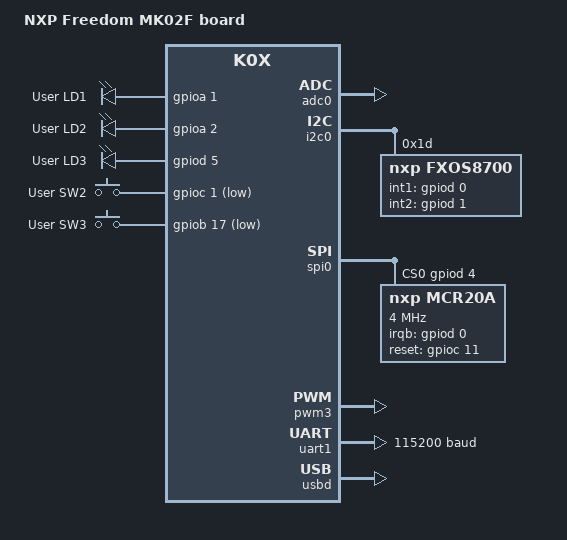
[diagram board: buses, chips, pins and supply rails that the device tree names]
/dts-v1/;

#include <nxp/nxp_k0x.dtsi>

/ {
	model = "NXP Freedom MK02F board";
	compatible = "nxp,mk02f12", "nxp,k02f", "nxp,k0x";

	aliases {
		adc-0 = &adc0;
		pwm-0 = &pwm0;
		pwm-1 = &pwm1;
		pwm-2 = &pwm2;
		pwm-3 = &pwm3;
		uart-0 = &uart0;
		uart-1 = &uart1;
		pinmux-a = &pinmux_a;
		pinmux-b = &pinmux_b;
		pinmux-c = &pinmux_c;
		pinmux-d = &pinmux_d;
		pinmux-e = &pinmux_e;
		gpio-a = &gpioa;
		gpio-b = &gpiob;
		gpio-c = &gpioc;
		gpio-d = &gpiod;
		gpio-e = &gpioe;
		i2c-0 = &i2c0;
		i2c-1 = &i2c1;
		led0 = &green_led;
		led1 = &blue_led;
		led2 = &red_led;
		sw0 = &user_button_3;
		sw1 = &user_button_2;
	};

	chosen {
		zephyr,sram = &sram0;
		zephyr,flash = &flash0;
		zephyr,console = &uart1;
		zephyr,shell-uart = &uart1;
		zephyr,uart-pipe = &uart1;
	};

	leds {
		compatible = "gpio-leds";
		red_led: led_0 {
			gpios = <&gpioa 1 0>;
			label = "User LD1";
		};
		green_led: led_1 {
			gpios = <&gpioa 2 0>;
			label = "User LD2";
		};
		blue_led: led_2 {
			gpios = <&gpiod 5 0>;
			label = "User LD3";
		};
	};

	gpio_keys {
		compatible = "gpio-keys";
		user_button_2: button_0 {
			label = "User SW2";
			gpios = <&gpioc 1 GPIO_INT_ACTIVE_LOW>;
		};
		user_button_3: button_1 {
			label = "User SW3";
			gpios = <&gpiob 17 GPIO_INT_ACTIVE_LOW>;
		};
	};
};

&adc0 {
	status = "ok";
};

&i2c0 {
	status = "ok";

	fxos8700@1d {
		compatible = "nxp,fxos8700";
		reg = <0x1d>;
		label = "FXOS8700";
		int1-gpios = <&gpiod 0 0>;
		int2-gpios = <&gpiod 1 0>;
	};
};

&spi0 {
	status = "ok";
	cs-gpios = <&gpiod 4 0>;

	mcr20a@0 {
		compatible = "nxp,mcr20a";
		reg = <0x0>;
		label = "mcr20a";
		spi-max-frequency = <4000000>;
		irqb-gpios = <&gpiod 0 0>;
		reset-gpios = <&gpioc 11 0>;
		status = "ok";
	};
};

&pwm3 {
	status = "ok";
};

&uart1 {
	status = "ok";
	current-speed = <115200>;
};

&usbd {
	compatible = "nxp,kinetis-usbd";
	status = "ok";
	num-bidir-endpoints = <8>;
};

&flash0 {
	/*
	 * For more information, see:
	 * http://docs.zephyrproject.org/latest/devices/dts/flash_partitions.html
	 */
	partitions {
		compatible = "fixed-partitions";
		#address-cells = <1>;
		#size-cells = <1>;

		boot_partition: partition@0 {
			label = "mcuboot";
			reg = <0x00000000 0x00010000>;
			read-only;
		};

		/*
		 * The flash starting at 0x00010000 and ending at
		 * 0x0001ffff (sectors 16-31) is reserved for use
		 * by the application.
		 */
		storage_partition: partition@1e000 {
			label = "storage";
			reg = <0x0001e000 0x00002000>;
		};

		slot0_partition: partition@20000 {
			label = "image-0";
			reg = <0x00020000 0x00060000>;
		};
		slot1_partition: partition@80000 {
			label = "image-1";
			reg = <0x00080000 0x00060000>;
		};
		scratch_partition: partition@e0000 {
			label = "image-scratch";
			reg = <0x000e0000 0x00020000>;
		};
	};
};
